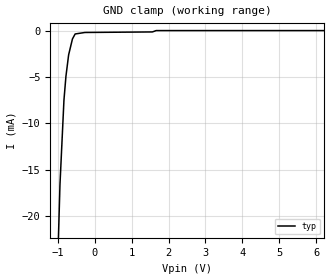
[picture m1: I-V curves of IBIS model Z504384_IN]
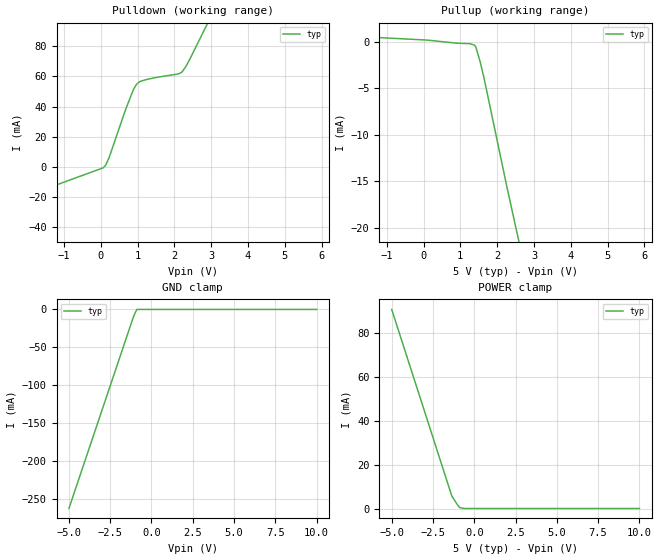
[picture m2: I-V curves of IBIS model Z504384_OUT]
| YOU ARE ONLY AUTHORIZED TO USE THIS SOFTWARE
| ACCORDING TO LICENSOR'S LICENSE RESTRICTIONS.
[IBIS Ver] 3.1
[File Name] sn54ls14j.ibs
[File Rev] 2.0
[Source] Measured and created by ICX Technology
[Date] Friday 7/14/00 9:08:13 AM
[Copyright]
| (C) COPYRIGHT 1993-2000
| MENTOR GRAPHICS CORPORATION
| ICX STANDARD LIBRARY, ICX PROJECT MODELING,
| ICX CUSTOM MODELING, ICX VENDOR MODEL
| ALL RIGHTS RESERVED.
| THE FOLLOWING ARE TRADEMARKS OR SERVICE MARKS OF
| MENTOR GRAPHICS CORPORATION:ICX (R), ICX STANDARD
| LIBRARY(R), ICX PROJECT MODELING(R), ICX CUSTOM
| MODELING(R), qualityIBIS(TM), MODELVIEWER(TM),
| AND MODELEDITOR(TM)
| ALL COPIES OF SOFTWARE, INCLUDING BUT NOT LIMITED TO
| ANY MODIFICATIONS, ENHANCEMENTS OR DERIVATIVE WORKS,
| MUST CONTAIN ALL MENTOR GRAPHICS CORPORATION'S
| NOTICES AND LEGENDS, INCLUDING THOSE EMBEDDED IN
| SOFTWARE AND THOSE AFFIXED TO SOFTWARE MEDIUM
| AND CONTAINER, AS RECEIVED FROM MENTOR GRAPHICS
| CORPORATION.
|  ZAP Model Builder 2.7
[Component] SN54LS14J
[Manufacturer] OnSemiconductor
[Package]
| variable   typ   min   max
R_pkg  .21ohms NA NA
L_pkg  4.543nH NA NA
C_pkg  1.8pF NA NA
[Pin] signal_name  model_name  R_pin  L_pin C_pin
1 A Z504384_IN .22 6.757n 2.434p
2 Y Z504384_OUT .212 4.757n 1.941p
3 A Z504384_IN .204 3.257n 1.448p
4 Y Z504384_OUT .196 2.257n .955p
5 A Z504384_IN .204 3.257n 1.448p
6 Y Z504384_OUT .212 4.757n 1.941p
7 GND GND .22 6.757n 2.434p
8 Y Z504384_OUT .22 6.757n 2.434p
9 A Z504384_IN .212 4.757n 1.941p
10 Y Z504384_OUT .204 3.257n 1.448p
11 A Z504384_IN .196 2.257n .955p
12 Y Z504384_OUT .204 3.257n 1.448p
13 A Z504384_IN .212 4.757n 1.941p
14 VCC POWER .22 6.757n 2.434p
| Models and submodels in the file (2): Z504384_IN (Input), Z504384_OUT (Output)
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| (C) COPYRIGHT 1993-2000
| MENTOR GRAPHICS CORPORATION
| ICX STANDARD LIBRARY, ICX PROJECT MODELING,
| ICX CUSTOM MODELING, ICX VENDOR MODEL
| ALL RIGHTS RESERVED.
| THE FOLLOWING ARE TRADEMARKS OR SERVICE MARKS OF
| MENTOR GRAPHICS CORPORATION:ICX (R), ICX STANDARD
| LIBRARY(R), ICX PROJECT MODELING(R), ICX CUSTOM
| MODELING(R), qualityIBIS(TM), MODELVIEWER(TM),
| AND MODELEDITOR(TM)
| ALL COPIES OF SOFTWARE, INCLUDING BUT NOT LIMITED TO
| ANY MODIFICATIONS, ENHANCEMENTS OR DERIVATIVE WORKS,
| MUST CONTAIN ALL MENTOR GRAPHICS CORPORATION'S
| NOTICES AND LEGENDS, INCLUDING THOSE EMBEDDED IN
| SOFTWARE AND THOSE AFFIXED TO SOFTWARE MEDIUM
| AND CONTAINER, AS RECEIVED FROM MENTOR GRAPHICS
| CORPORATION.
| Model Application Version 1.89 2/18/99.
[Model] Z504384_IN
Model_type Input
Vinl = 800.0mV
Vinh = 2.000V
C_comp 4.000pF NA NA
| variable typ   min   max
[Voltage Range] 5.000V NA NA
[GND Clamp Reference] 0.000V NA NA
[POWER Clamp Reference] 5.000V NA NA
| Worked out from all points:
|   GND clamp passes 1 mA (typ) near -0.61 V on its own axis
[GND Clamp]
-5V       -576.2mA   NA         NA
-937.4mV  -16.56mA   NA         NA
-830.1mV  -7.5mA     NA         NA
-776.4mV  -4.93mA    NA         NA
-703.1mV  -2.608mA   NA         NA
-600.1mV  -904uA     NA         NA
-527.3mV  -367.4uA   NA         NA
-263.7mV  -205.7uA   NA         NA
1.563V    -148.4uA   NA         NA
1.665V    -1.833uA   NA         NA
10V       -1.833uA   NA         NA
[POWER Clamp]
-5V       0A         NA         NA
10V       0A         NA         NA
| (C) COPYRIGHT 1993-2000
| MENTOR GRAPHICS CORPORATION
| ICX STANDARD LIBRARY, ICX PROJECT MODELING,
| ICX CUSTOM MODELING, ICX VENDOR MODEL
| ALL RIGHTS RESERVED.
| THE FOLLOWING ARE TRADEMARKS OR SERVICE MARKS OF
| MENTOR GRAPHICS CORPORATION:ICX (R), ICX STANDARD
| LIBRARY(R), ICX PROJECT MODELING(R), ICX CUSTOM
| MODELING(R), qualityIBIS(TM), MODELVIEWER(TM),
| AND MODELEDITOR(TM)
| ALL COPIES OF SOFTWARE, INCLUDING BUT NOT LIMITED TO
| ANY MODIFICATIONS, ENHANCEMENTS OR DERIVATIVE WORKS,
| MUST CONTAIN ALL MENTOR GRAPHICS CORPORATION'S
| NOTICES AND LEGENDS, INCLUDING THOSE EMBEDDED IN
| SOFTWARE AND THOSE AFFIXED TO SOFTWARE MEDIUM
| AND CONTAINER, AS RECEIVED FROM MENTOR GRAPHICS
| CORPORATION.
| Model Application Version 1.89 2/18/99.
[Model] Z504384_OUT
Model_type Output
Vref=5.000V
Rref=2.000kohms
Cref=15.00pF
Vmeas=1.300V
C_comp 8.000pF NA NA
| variable typ   min   max
[Voltage Range] 5.000V NA NA
[POWER Clamp Reference] 5.000V NA NA
[Pullup Reference] 5.000V NA NA
[Pulldown Reference] 0.000V NA NA
[GND Clamp Reference] 0.000V NA NA
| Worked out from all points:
|   slope of the pulldown table from 0 to 0.75 V, typ, clamps not added: 17.1 ohm
|   slope of the pullup table from 0 to 0.75 V, typ, clamps not added: 2.58 kohm
|   GND clamp passes 1 mA (typ) near -0.90 V on its own axis
|   POWER clamp passes 1 mA (typ) near -0.94 V on its own axis
[GND Clamp]
-5V       -262.3mA   NA         NA
-1.123V   -11.64mA   NA         NA
-991.1mV  -4.618mA   NA         NA
-881mV    0A         NA         NA
10V       0A         NA         NA
[Pulldown]
-5V       -46.04mA   NA         NA
68.86mV   -700.5uA   NA         NA
131.8mV   976.9uA    NA         NA
224.6mV   5.821mA    NA         NA
683.6mV   38.53mA    NA         NA
888.7mV   51.28mA    NA         NA
967.9mV   54.59mA    NA         NA
1.262V    58.05mA    NA         NA
2.158V    62.14mA    NA         NA
2.217V    63.2mA     NA         NA
2.407V    70.82mA    NA         NA
10V       445.8mA    NA         NA
[Pullup]
-5V       1.208mA    NA         NA
107mV     151.2uA    NA         NA
882mV     -172.9uA   NA         NA
1.26V     -233.9uA   NA         NA
1.383V    -388.5uA   NA         NA
1.421V    -590.7uA   NA         NA
1.543V    -2.237mA   NA         NA
1.638V    -3.826mA   NA         NA
2.28V     -15.91mA   NA         NA
10V       -154.5mA   NA         NA
[POWER Clamp]
-5V       90.9mA     NA         NA
-1.36V    5.706mA    NA         NA
-1.009V   1.599mA    NA         NA
-869mV    351.5uA    NA         NA
-579.3mV  0A         NA         NA
10V       0A         NA         NA
[Ramp]
| variable typ min max
dV/dt_r 1.881/8.339n NA NA
dV/dt_f 1.881/1.792n NA NA
R_load = 500.0Ohms
